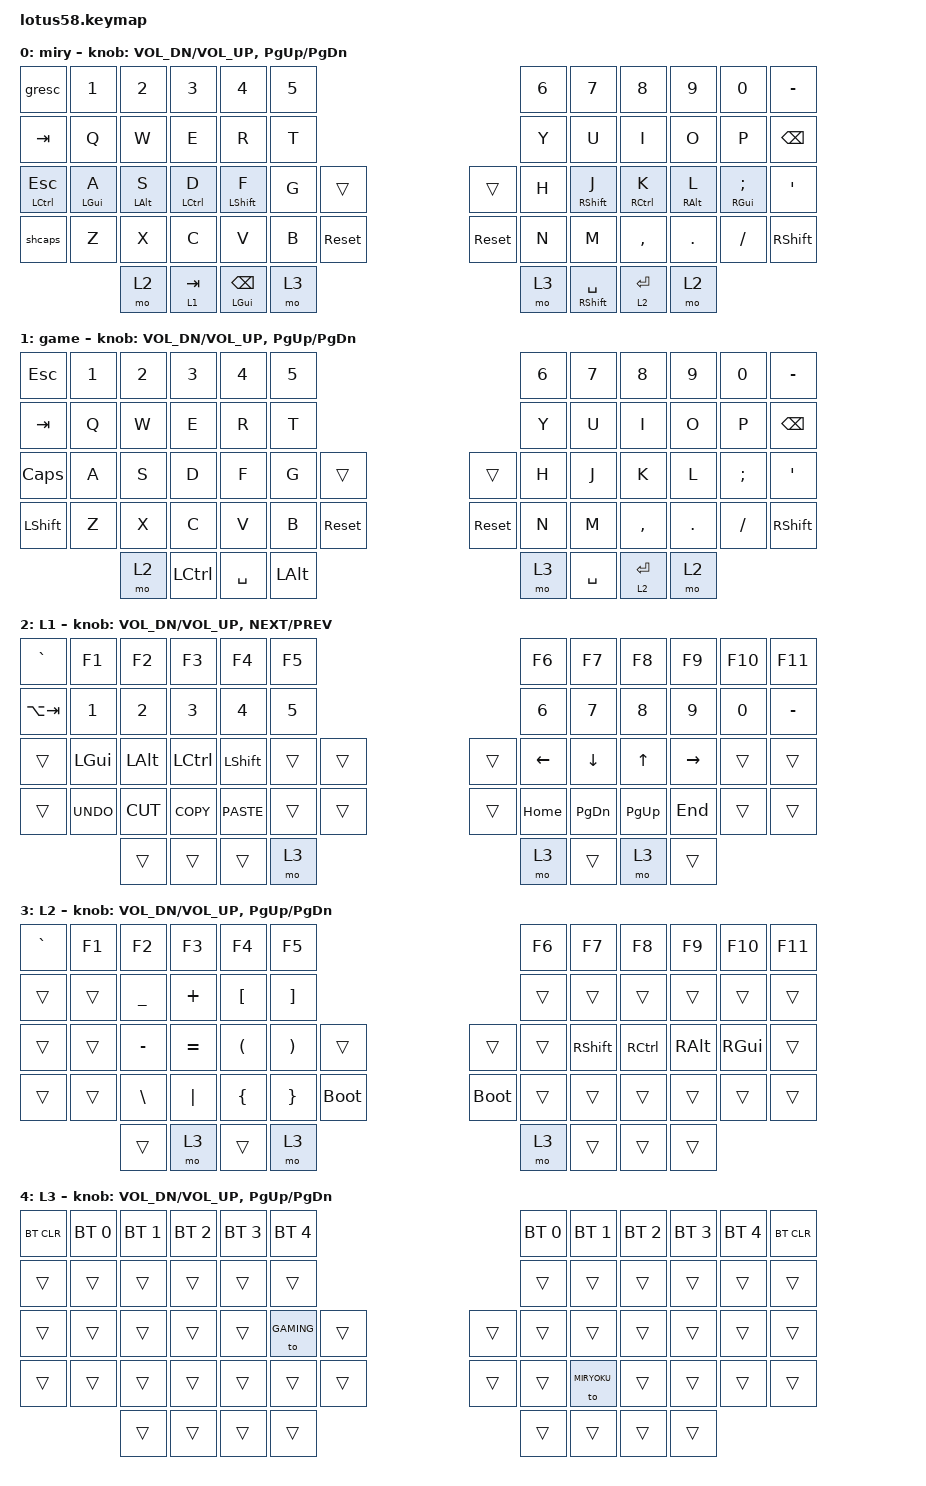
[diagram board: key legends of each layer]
/*
 * TODO: 
 *
 * Shorten with define macros
 * Rename layers to NAVigation, SYMbol, SYStem
 * Add tap dance for caps word on double tap left shift
 */

#include <behaviors.dtsi>
#include <dt-bindings/zmk/keys.h>
#include <dt-bindings/zmk/bt.h>
#include <dt-bindings/zmk/outputs.h>

#define MIRYOKU 0
#define GAMING 1
#define L1 2
#define L2 3
#define L3 4

/ {
     behaviors {
        shcaps: shift_caps_word {
            compatible = "zmk,behavior-tap-dance";
            #binding-cells = <0>;
            tapping-term-ms = <200>;
            bindings = <&kp LSHFT>, <&caps_word>;
        };

        gresc: grave_escape {
          // TEST: Fix this to be like QMK
            compatible = "zmk,behavior-mod-morph";
            #binding-cells = <0>;
            bindings = <&kp ESC>, <&kp GRAVE>;
            mods = <(MOD_LGUI|MOD_LSFT|MOD_RGUI|MOD_RSFT)>;
            keep-mods = <(MOD_LGUI|MOD_LSFT|MOD_RGUI|MOD_RSFT)>;
        };

        hm: homerow_mods {
            compatible = "zmk,behavior-hold-tap";
            #binding-cells = <2>;
            tapping-term-ms = <150>;
            quick-tap-ms = <150>;
            require-prior-idle-ms = <125>;
            flavor = "tap-preferred";
            bindings = <&kp>, <&kp>;
        };
    };

    keymap {
        compatible = "zmk,keymap";

        miryoku_layer {
            display-name = "miry";

            bindings = <
  /*┌────────┬────────┬────────┬────────┬────────┬────────┐                                  ┌────────┬────────┬────────┬────────┬────────┬────────┐*/
      &gresc   &kp N1   &kp N2   &kp N3   &kp N4   &kp N5                                      &kp N6   &kp N7   &kp N8   &kp N9   &kp N0 &kp MINUS
  /*├────────┼────────┼────────┼────────┼────────┼────────┤                                  ├────────┼────────┼────────┼────────┼────────┼────────┤*/
     &kp TAB    &kp Q    &kp W    &kp E    &kp R    &kp T                                      &kp Y     &kp U    &kp I    &kp O    &kp P  &kp BSPC
  /*├────────┼────────┼────────┼────────┼────────┼────────┼────────┐                ┌────────┼────────┼────────┼────────┼────────┼────────┼────────┤*/
 &mt LCTRL ESC &hm LGUI A &hm LALT S &hm LCTRL D &hm LSHFT F &kp G &trans         &trans &kp H &hm RSHFT J &hm RCTRL K &hm RALT L &hm RGUI SEMI &kp SQT
  /*├────────┼────────┼────────┼────────┼────────┼────────┼────────┤                ├────────┼────────┼────────┼────────┼────────┼────────┼────────┤*/
     &shcaps    &kp Z    &kp X    &kp C    &kp V    &kp B &sys_reset                &sys_reset &kp N     &kp M &kp COMMA &kp DOT  &kp FSLH &kp RSHFT
  /*└────────┴────────┴────┬───┴────┬───┴────┬───┴────┬───┴────┬───┘                └────┬───┴────┬───┴────┬───┴────┬───┴────┬───┴────────┴────────┘*/
                           &mo L2 &lt L1 TAB &hm LGUI BSPC &mo L3                      &mo L3 &hm RSHFT SPACE &lt L2 RET &mo L2
                         /*└────────┴────────┴────────┴────────┘                         └────────┴────────┴────────┴────────┘*/
            >;

            sensor-bindings = <&inc_dec_kp C_VOL_DN C_VOL_UP &inc_dec_kp PG_UP PG_DN>;
        };

        gaming_layer {
            display-name = "game";

            bindings = <
  /*┌────────┬────────┬────────┬────────┬────────┬────────┐                                  ┌────────┬────────┬────────┬────────┬────────┬────────┐*/
     &kp ESC   &kp N1   &kp N2   &kp N3   &kp N4   &kp N5                                      &kp N6   &kp N7   &kp N8   &kp N9   &kp N0 &kp MINUS
  /*├────────┼────────┼────────┼────────┼────────┼────────┤                                  ├────────┼────────┼────────┼────────┼────────┼────────┤*/
     &kp TAB    &kp Q    &kp W    &kp E    &kp R    &kp T                                      &kp Y     &kp U    &kp I    &kp O    &kp P  &kp BSPC
  /*├────────┼────────┼────────┼────────┼────────┼────────┼────────┐                ┌────────┼────────┼────────┼────────┼────────┼────────┼────────┤*/
     &kp CAPS   &kp A    &kp S    &kp D    &kp F    &kp G   &trans                    &trans   &kp H     &kp J    &kp K    &kp L  &kp SEMI &kp SQT
  /*├────────┼────────┼────────┼────────┼────────┼────────┼────────┤                ├────────┼────────┼────────┼────────┼────────┼────────┼────────┤*/
     &kp LSHFT  &kp Z    &kp X    &kp C    &kp V    &kp B &sys_reset                &sys_reset &kp N     &kp M &kp COMMA &kp DOT  &kp FSLH &kp RSHFT
  /*└────────┴────────┴────┬───┴────┬───┴────┬───┴────┬───┴────┬───┘                └────┬───┴────┬───┴────┬───┴────┬───┴────┬───┴────────┴────────┘*/
                             &mo L2  &kp LCTRL &kp SPACE &kp LALT                          &mo L3  &kp SPACE &lt L2 RET &mo L2
                         /*└────────┴────────┴────────┴────────┘                         └────────┴────────┴────────┴────────┘*/
            >;

            sensor-bindings = <&inc_dec_kp C_VOL_DN C_VOL_UP &inc_dec_kp PG_UP PG_DN>;
        };

        first_layer {
            display-name = "L1";

            bindings = <
  /*┌────────┬────────┬────────┬────────┬────────┬────────┐                                  ┌────────┬────────┬────────┬────────┬────────┬────────┐*/
    &kp GRAVE  &kp F1   &kp F2   &kp F3   &kp F4   &kp F5                                      &kp F6   &kp F7   &kp F8   &kp F9  &kp F10  &kp F11
  /*├────────┼────────┼────────┼────────┼────────┼────────┤                                  ├────────┼────────┼────────┼────────┼────────┼────────┤*/
   &kp LA(TAB) &kp N1   &kp N2   &kp N3   &kp N4   &kp N5                                      &kp N6   &kp N7   &kp N8   &kp N9   &kp N0 &kp MINUS
  /*├────────┼────────┼────────┼────────┼────────┼────────┼────────┐                ┌────────┼────────┼────────┼────────┼────────┼────────┼────────┤*/
      &trans &kp LGUI &kp LALT &kp LCTRL &kp LSHFT &trans   &trans                    &trans  &kp LEFT &kp DOWN  &kp UP &kp RIGHT  &trans   &trans
  /*├────────┼────────┼────────┼────────┼────────┼────────┼────────┤                ├────────┼────────┼────────┼────────┼────────┼────────┼────────┤*/
  &trans &kp K_UNDO &kp K_CUT &kp K_COPY &kp K_PASTE &trans &trans                    &trans &kp HOME &kp PG_DN &kp PG_UP &kp END  &trans   &trans
  /*└────────┴────────┴────┬───┴────┬───┴────┬───┴────┬───┴────┬───┘                └────┬───┴────┬───┴────┬───┴────┬───┴────┬───┴────────┴────────┘*/
                             &trans   &trans   &trans   &mo L3                             &mo L3   &trans   &mo L3   &trans
                         /*└────────┴────────┴────────┴────────┘                         └────────┴────────┴────────┴────────┘*/
            >;

            sensor-bindings = <&inc_dec_kp C_VOL_DN C_VOL_UP &inc_dec_kp C_NEXT C_PREV>;
        };

        second_layer {
            display-name = "L2";

            bindings = <
  /*┌────────┬────────┬────────┬────────┬────────┬────────┐                                  ┌────────┬────────┬────────┬────────┬────────┬────────┐*/
    &kp GRAVE  &kp F1   &kp F2   &kp F3   &kp F4   &kp F5                                      &kp F6   &kp F7   &kp F8   &kp F9  &kp F10  &kp F11
  /*├────────┼────────┼────────┼────────┼────────┼────────┤                                  ├────────┼────────┼────────┼────────┼────────┼────────┤*/
      &trans   &trans &kp UNDER &kp PLUS &kp LBKT &kp RBKT                                     &trans   &trans   &trans   &trans   &trans   &trans
  /*├────────┼────────┼────────┼────────┼────────┼────────┼────────┐                ┌────────┼────────┼────────┼────────┼────────┼────────┼────────┤*/
      &trans  &trans &kp MINUS &kp EQUAL &kp LPAR &kp RPAR  &trans                    &trans  &trans &kp RSHFT &kp RCTRL &kp RALT &kp RGUI  &trans
  /*├────────┼────────┼────────┼────────┼────────┼────────┼────────┤                ├────────┼────────┼────────┼────────┼────────┼────────┼────────┤*/
      &trans   &trans  &kp BSLH &kp PIPE &kp LBRC &kp RBRC  &bootloader          &bootloader   &trans   &trans   &trans   &trans   &trans   &trans
  /*└────────┴────────┴────┬───┴────┬───┴────┬───┴────┬───┴────┬───┘                └────┬───┴────┬───┴────┬───┴────┬───┴────┬───┴────────┴────────┘*/
                             &trans   &mo L3   &trans   &mo L3                             &mo L3   &trans   &trans   &trans
                         /*└────────┴────────┴────────┴────────┘                         └────────┴────────┴────────┴────────┘*/
            >;

            sensor-bindings = <&inc_dec_kp C_VOL_DN C_VOL_UP &inc_dec_kp PG_UP PG_DN>;
        };
 
        third_layer {
            display-name = "L3";

            bindings = <
  /*┌────────┬────────┬────────┬────────┬────────┬────────┐                                  ┌────────┬────────┬────────┬────────┬────────┬────────┐*/
 &bt BT_CLR &bt BT_SEL 0 &bt BT_SEL 1 &bt BT_SEL 2 &bt BT_SEL 3 &bt BT_SEL 4    &bt BT_SEL 0 &bt BT_SEL 1 &bt BT_SEL 2 &bt BT_SEL 3 &bt BT_SEL 4 &bt BT_CLR
  /*├────────┼────────┼────────┼────────┼────────┼────────┤                                  ├────────┼────────┼────────┼────────┼────────┼────────┤*/
      &trans   &trans   &trans   &trans   &trans   &trans                                      &trans   &trans   &trans   &trans   &trans   &trans
  /*├────────┼────────┼────────┼────────┼────────┼────────┼────────┐                ┌────────┼────────┼────────┼────────┼────────┼────────┼────────┤*/
      &trans   &trans   &trans   &trans   &trans &to GAMING &trans                    &trans   &trans   &trans   &trans   &trans   &trans   &trans
  /*├────────┼────────┼────────┼────────┼────────┼────────┼────────┤                ├────────┼────────┼────────┼────────┼────────┼────────┼────────┤*/
      &trans   &trans   &trans   &trans   &trans   &trans   &trans                    &trans  &trans &to MIRYOKU &trans   &trans   &trans   &trans
  /*└────────┴────────┴────┬───┴────┬───┴────┬───┴────┬───┴────┬───┘                └────┬───┴────┬───┴────┬───┴────┬───┴────┬───┴────────┴────────┘*/
                             &trans   &trans   &trans   &trans                             &trans   &trans   &trans   &trans
                         /*└────────┴────────┴────────┴────────┘                         └────────┴────────┴────────┴────────┘*/
            >;

            sensor-bindings = <&inc_dec_kp C_VOL_DN C_VOL_UP &inc_dec_kp PG_UP PG_DN>;
        };
    };
};
